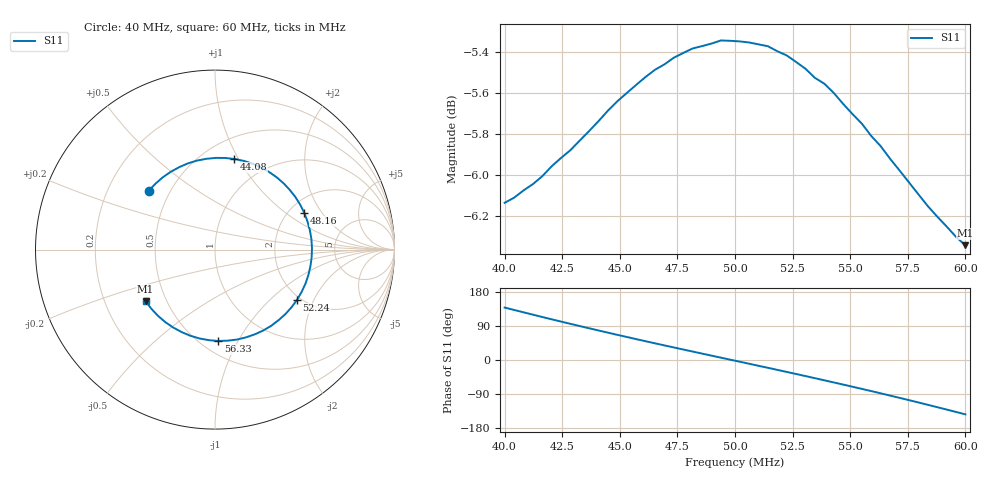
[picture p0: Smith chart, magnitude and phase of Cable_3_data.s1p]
# MHz S MA R 50
!  freq  S11
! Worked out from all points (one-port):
!   50 points, 40 MHz to 60 MHz, reference 50 ohm
!   lowest |S11| = -6.3 dB at 60 MHz (marker M1), VSWR 2.86, Z = 19.1 - j14.3 ohm
!   |S11| at or under -10 dB: nowhere
!   S11 on the Smith chart (normalised r, x): 40 MHz: 0.38, +0.33; 44.08 MHz: 0.70, +0.96; 48.16 MHz: 2.42, +1.39; 52.24 MHz: 1.91, -1.50; 56.33 MHz: 0.61, -0.83; 60 MHz: 0.38, -0.29
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40  0.4934 138.4
40.81633  0.4969 125.9
41.63265  0.5008 113.5
42.04082  0.5036 107.4
42.85714  0.5082 95.4
43.26531  0.511 89.5
44.08163  0.5166 77.9
44.4898  0.5196 72.1
45.30612  0.5247 60.7
46.53061  0.5316 44.0
47.7551  0.5366 27.6
48.16327  0.538 22.3
49.38775  0.5404 6.2
50.20408  0.5401 -4.5
50.61225  0.5398 -9.9
51.42857  0.5386 -20.6
52.2449  0.5359 -31.5
52.65306  0.5339 -36.9
53.87755  0.5275 -53.6
54.28571  0.5248 -59.2
55.10204  0.5186 -70.6
55.5102  0.5158 -76.3
56.32653  0.5093 -88.0
57.14286  0.5025 -99.9
57.55102  0.4991 -106.0
57.95918  0.4958 -112.0
58.77551  0.4897 -124.4
60  0.4818 -143.4
